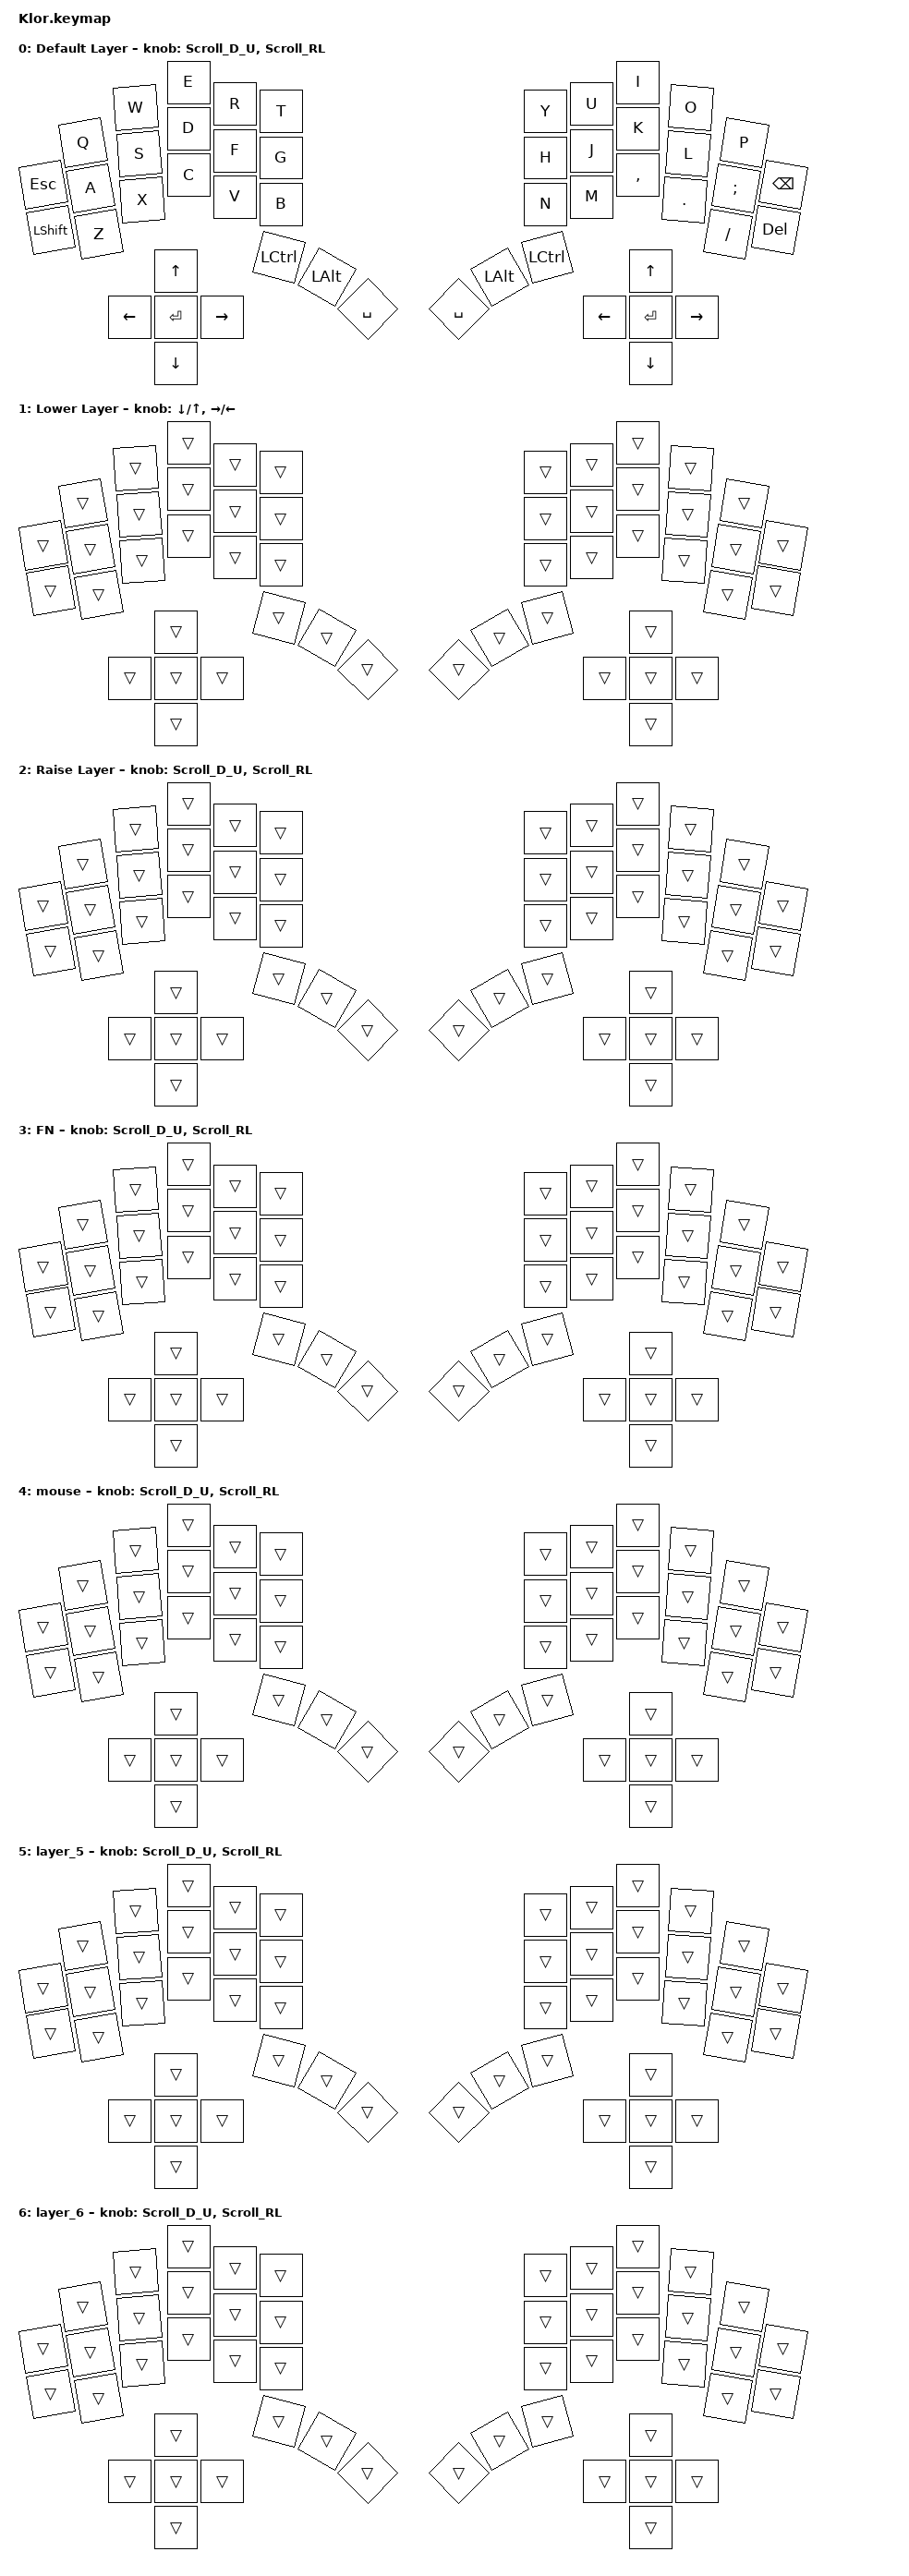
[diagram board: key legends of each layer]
/*
 * Copyright (c) 2020 The ZMK Contributors
 *
 * SPDX-License-Identifier: MIT
 */

#include <input/processors.dtsi>
#include <zephyr/dt-bindings/input/input-event-codes.h>
#include <dt-bindings/zmk/mouse.h>
#include <behaviors/mouse_keys.dtsi>
#include <behaviors.dtsi>
#include <dt-bindings/zmk/keys.h>
#include <dt-bindings/zmk/pointing.h>

#define ZMK_POINTING_DEFAULT_MOVE_VAL 1200  // 600
#define ZMK_POINTING_DEFAULT_SCRL_VAL 300   // mousescroll SPEED

&mmv_input_listener { input-processors = <&zip_xy_scaler 2 1>; };

&msc_input_listener { input-processors = <&zip_scroll_scaler 2 1>; };

&msc {
    acceleration-exponent = <1>;      // 0
    time-to-max-speed-ms = <3000>;       // 300
    delay-ms = <0>;                   // 0
};

&mmv {
    time-to-max-speed-ms = <1000>;
    acceleration-exponent = <1>;
    trigger-period-ms = <16>;
};

&soft_off {
    hold-time-ms = <3000>; // Only turn off it the key is held for 3 seconds or longer.
};

&mt { flavor = "tap-preferred"; };

&lt {
    tapping-term-ms = <300>;
    flavor = "balanced";
};

&sk {
    quick-release;
    lazy;
};

/ {
    behaviors {
        Scroll_D_U: Scroll_D_U {
            compatible = "zmk,behavior-sensor-rotate";
            label = "SCROLL_D_U";
            #sensor-binding-cells = <0>;
            bindings = <&msc SCRL_DOWN>, <&msc SCRL_UP>;

            tap-ms = <20>;
        };

        Scroll_U_D: Scroll_U_D {
            compatible = "zmk,behavior-sensor-rotate";
            label = "SCROLL_U_D";
            #sensor-binding-cells = <0>;
            bindings = <&msc SCRL_UP>, <&msc SCRL_DOWN>;

            tap-ms = <20>;
        };

        Scroll_LR: Scroll_LR {
            compatible = "zmk,behavior-sensor-rotate";
            label = "SCROLL_LR";
            #sensor-binding-cells = <0>;
            bindings = <&msc SCRL_LEFT>, <&msc SCRL_RIGHT>;

            tap-ms = <20>;
        };

        Scroll_RL: Scroll_RL {
            compatible = "zmk,behavior-sensor-rotate";
            label = "SCROLL_RL";
            #sensor-binding-cells = <0>;
            bindings = <&msc SCRL_RIGHT>, <&msc SCRL_LEFT>;

            tap-ms = <20>;
        };
    };

    keymap {
        compatible = "zmk,keymap";

        default_layer {
            display-name = "Default Layer";
            bindings = <
           &kp Q     &kp W    &kp E      &kp R      &kp T          &kp Y      &kp U     &kp I      &kp O    &kp P
&kp ESC    &kp A     &kp S    &kp D      &kp F      &kp G          &kp H      &kp J     &kp K      &kp L    &kp SEMI  &kp BSPC
&kp LSHFT  &kp Z     &kp X    &kp C      &kp V      &kp B          &kp N      &kp M     &kp COMMA  &kp DOT  &kp FSLH  &kp DEL
                              &kp LCTRL  &kp LALT   &kp SPACE      &kp SPACE  &kp LALT  &kp LCTRL
&kp LEFT   &kp DOWN  &kp RET  &kp UP     &kp RIGHT                            &kp LEFT  &kp UP     &kp RET  &kp DOWN  &kp RIGHT
            >;

            sensor-bindings = <&Scroll_D_U>, <&Scroll_RL>;
        };

        lower_layer {
            display-name = "Lower Layer";
            bindings = <
        &trans  &trans  &trans  &trans  &trans      &trans  &trans  &trans  &trans  &trans
&trans  &trans  &trans  &trans  &trans  &trans      &trans  &trans  &trans  &trans  &trans  &trans
&trans  &trans  &trans  &trans  &trans  &trans      &trans  &trans  &trans  &trans  &trans  &trans
                        &trans  &trans  &trans      &trans  &trans  &trans
&trans  &trans  &trans  &trans  &trans                      &trans  &trans  &trans  &trans  &trans
            >;

            sensor-bindings =
                <&inc_dec_kp DOWN UP_ARROW>,
                <&inc_dec_kp RIGHT LEFT>;
        };

        raise_layer {
            display-name = "Raise Layer";
            bindings = <
        &trans  &trans  &trans  &trans  &trans      &trans  &trans  &trans  &trans  &trans
&trans  &trans  &trans  &trans  &trans  &trans      &trans  &trans  &trans  &trans  &trans  &trans
&trans  &trans  &trans  &trans  &trans  &trans      &trans  &trans  &trans  &trans  &trans  &trans
                        &trans  &trans  &trans      &trans  &trans  &trans
&trans  &trans  &trans  &trans  &trans                      &trans  &trans  &trans  &trans  &trans
            >;

            sensor-bindings = <&Scroll_D_U>, <&Scroll_RL>;
        };

        FN {
            bindings = <
        &trans  &trans  &trans  &trans  &trans      &trans  &trans  &trans  &trans  &trans
&trans  &trans  &trans  &trans  &trans  &trans      &trans  &trans  &trans  &trans  &trans  &trans
&trans  &trans  &trans  &trans  &trans  &trans      &trans  &trans  &trans  &trans  &trans  &trans
                        &trans  &trans  &trans      &trans  &trans  &trans
&trans  &trans  &trans  &trans  &trans                      &trans  &trans  &trans  &trans  &trans
            >;

            sensor-bindings = <&Scroll_D_U>, <&Scroll_RL>;
        };

        mouse {
            bindings = <
        &trans  &trans  &trans  &trans  &trans      &trans  &trans  &trans  &trans  &trans
&trans  &trans  &trans  &trans  &trans  &trans      &trans  &trans  &trans  &trans  &trans  &trans
&trans  &trans  &trans  &trans  &trans  &trans      &trans  &trans  &trans  &trans  &trans  &trans
                        &trans  &trans  &trans      &trans  &trans  &trans
&trans  &trans  &trans  &trans  &trans                      &trans  &trans  &trans  &trans  &trans
            >;

            sensor-bindings = <&Scroll_D_U>, <&Scroll_RL>;
        };

        layer_5 {
            bindings = <
        &trans  &trans  &trans  &trans  &trans      &trans  &trans  &trans  &trans  &trans
&trans  &trans  &trans  &trans  &trans  &trans      &trans  &trans  &trans  &trans  &trans  &trans
&trans  &trans  &trans  &trans  &trans  &trans      &trans  &trans  &trans  &trans  &trans  &trans
                        &trans  &trans  &trans      &trans  &trans  &trans
&trans  &trans  &trans  &trans  &trans                      &trans  &trans  &trans  &trans  &trans
            >;

            sensor-bindings = <&Scroll_D_U>, <&Scroll_RL>;
        };

        layer_6 {
            bindings = <
        &trans  &trans  &trans  &trans  &trans      &trans  &trans  &trans  &trans  &trans
&trans  &trans  &trans  &trans  &trans  &trans      &trans  &trans  &trans  &trans  &trans  &trans
&trans  &trans  &trans  &trans  &trans  &trans      &trans  &trans  &trans  &trans  &trans  &trans
                        &trans  &trans  &trans      &trans  &trans  &trans
&trans  &trans  &trans  &trans  &trans                      &trans  &trans  &trans  &trans  &trans
            >;

            sensor-bindings = <&Scroll_D_U>, <&Scroll_RL>;
        };
    };
};
